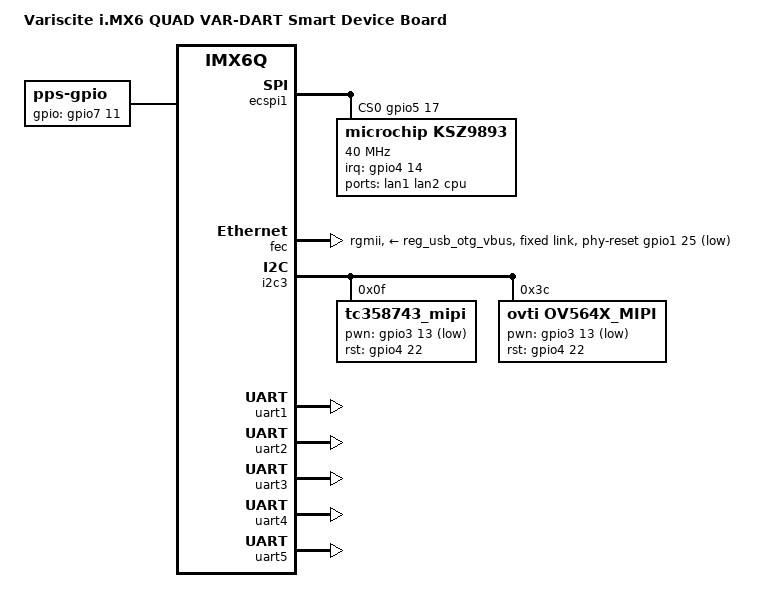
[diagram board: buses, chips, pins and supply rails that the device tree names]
/*
 * Copyright (C) 2015-2017 Variscite Ltd.
 *
 * This program is free software; you can redistribute it and/or modify
 * it under the terms of the GNU General Public License version 2 as
 * published by the Free Software Foundation.
 */

/dts-v1/;

#include "imx6q.dtsi"
#include "imx6qdl-iris2.dtsi"

/ {
	model = "Variscite i.MX6 QUAD VAR-DART Smart Device Board";
	compatible = "fsl,imx6q-var-dart", "fsl,imx6q";

	pps {
		compatible = "pps-gpio";
		pinctrl-names = "default";
		pinctrl-0 = <&pinctrl_pps>;
		gpios = <&gpio7 11 GPIO_ACTIVE_HIGH>;
		status = "okay";
	};

};

&iomuxc {
	imx6qdl-var-som-mx6 {
		pinctrl_pps: ppsgrp {
			fsl,pins = <
				MX6QDL_PAD_GPIO_16__GPIO7_IO11	0x1b0b1	/* 100K PU, HYS, KEEPER, FAST */
			>;
		};
	};
};

&cpu0 {
	operating-points = <
		/* kHz    uV */
		1200000	1350000
		996000	1250000
		852000	1250000
		792000	1175000
		396000	1175000
	>;
	fsl,soc-operating-points = <
		/* ARM kHz  SOC-PU uV */
		1200000	1275000
		996000	1250000
		852000	1250000
		792000	1250000
		396000	1250000
	>;
};

&ecspi1 {
	fsl,spi-num-chipselects = <1>;
	cs-gpios = <&gpio5 17 0>;
	pinctrl-names = "default";
	pinctrl-0 = <&pinctrl_ecspi1>;
	status = "okay";

	ksz9893: ksz9893@0 {
		compatible = "microchip,ksz9893";
		reg = <0>;
		spi-max-frequency = <40000000>;
		spi-cpha;
		spi-cpol;
		interrupt-parent = <&gpio4>;
		interrupts = <14 IRQ_TYPE_LEVEL_LOW>;
		status = "okay";

		ports {
			#address-cells = <1>;
			#size-cells = <0>;
			port@0 {
				reg = <0>;
				label = "lan1";
			};
			port@1 {
				reg = <1>;
				label = "lan2";
			};
			port@2 {
				reg = <2>;
				label = "cpu";
				fixed-link {
					speed = <1000>;
					full-duplex;
				};
			};
		};
	};
};

&fec {
	pinctrl-names = "default";
	pinctrl-0 = <&pinctrl_enet>;
	phy-mode = "rgmii";
	phy-reset-gpios = <&gpio1 25 0>;
	phy-reset-duration = <10>;
	phy-reset-post-delay = <100>;
	phy-supply = <&reg_usb_otg_vbus>;
	fsl,magic-packet;
	status = "okay";

	fixed-link {
		speed = <1000>;
		full-duplex;
	};
};

&i2c3 {
	tc358743_mipi: tc358743_mipi@0f {
		compatible = "tc358743_mipi";
		reg = <0x0f>;
		clocks = <&clks IMX6QDL_CLK_CKO2>;
		clock-names = "csi_mclk";
		pwn-gpios = <&gpio3 13 1>;
		rst-gpios = <&gpio4 22 0>;
		csi_id = <0>;
		mclk = <27000000>;
		mclk_source = <0>;
	};

	ov564x_mipi: ov564x_mipi@3c {
		compatible = "ovti,ov564x_mipi";
		reg = <0x3c>;
		clocks = <&clks IMX6QDL_CLK_CKO2>;
		clock-names = "csi_mclk";
		pwn-gpios = <&gpio3 13 1>;
		rst-gpios = <&gpio4 22 0>;
		csi_id = <0>;
		mclk = <24000000>;
		mclk_source = <0>;
	};
};

&ldb {
	lvds-channel@0 {
		crtc = "ipu2-di0";
	};

	lvds-channel@1 {
		crtc = "ipu2-di1";
	};
};

&sata {
	status = "disabled";
};

/* ttymxc0 UART (Console) */
&uart1 {
	pinctrl-names = "default";
	pinctrl-0 = <&pinctrl_uart1_1>;
	fsl,uart-has-rtscts;
	status = "okay";
};

/* ttymxc1 UART (External) */
&uart2 {
	pinctrl-names = "default";
	pinctrl-0 = <&pinctrl_uart2_1>;
	status = "okay";
};

/* ttymxc2 UART (PDDL) */
&uart3 {
	pinctrl-names = "default";
	pinctrl-0 = <&pinctrl_uart3_1>;
	status = "okay";
};

/* ttymxc3 UART (Pixhawk) */
&uart4 {
	pinctrl-names = "default";
	pinctrl-0 = <&pinctrl_uart4_1>;
	status = "okay";
};

/* ttymxc4 UART (Iridium) */
&uart5 {
	pinctrl-names = "default";
	pinctrl-0 = <&pinctrl_uart5_1>;
	status = "okay";
};
